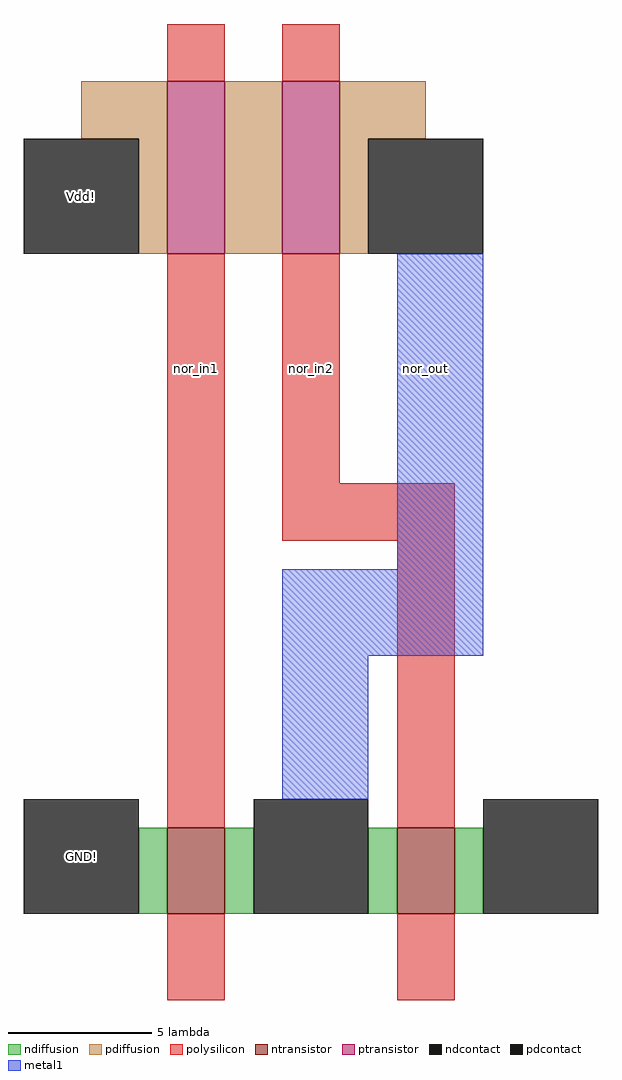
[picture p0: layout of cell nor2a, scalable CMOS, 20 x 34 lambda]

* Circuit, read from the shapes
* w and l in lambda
.subckt nor2a GND! Vdd! nor_in1 nor_in2 nor_out
M1 nor_out nor_in1 GND! VSUBS nfet w=3 l=2
M2 n1 nor_in2 nor_out VSUBS nfet w=3 l=2
M3 n2 nor_in1 Vdd! NWELL pfet w=6 l=2
M4 nor_out nor_in2 n2 NWELL pfet w=6 l=2
.ends

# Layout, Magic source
magic
tech scmos
<< polysilicon >>
rect -39 21 -37 23
rect -35 21 -33 23
rect -39 -5 -37 15
rect -35 7 -33 15
rect -35 5 -29 7
rect -31 -5 -29 5
rect -39 -11 -37 -8
rect -31 -11 -29 -8
<< ndiffusion >>
rect -40 -8 -39 -5
rect -37 -8 -36 -5
rect -32 -8 -31 -5
rect -29 -8 -28 -5
<< pdiffusion >>
rect -42 19 -39 21
rect -40 15 -39 19
rect -37 15 -35 21
rect -33 19 -30 21
rect -33 15 -32 19
<< metal1 >>
rect -31 4 -28 15
rect -35 1 -28 4
rect -35 -4 -32 1
<< ntransistor >>
rect -39 -8 -37 -5
rect -31 -8 -29 -5
<< ptransistor >>
rect -39 15 -37 21
rect -35 15 -33 21
<< ndcontact >>
rect -44 -8 -40 -4
rect -36 -8 -32 -4
rect -28 -8 -24 -4
<< pdcontact >>
rect -44 15 -40 19
rect -32 15 -28 19
<< labels >>
rlabel pdcontact -42 17 -42 17 3 Vdd!
rlabel ndcontact -42 -6 -42 -6 2 GND!
rlabel polysilicon -38 11 -38 11 1 nor_in1
rlabel polysilicon -34 11 -34 11 1 nor_in2
rlabel metal1 -30 11 -30 11 1 nor_out
<< end >>
